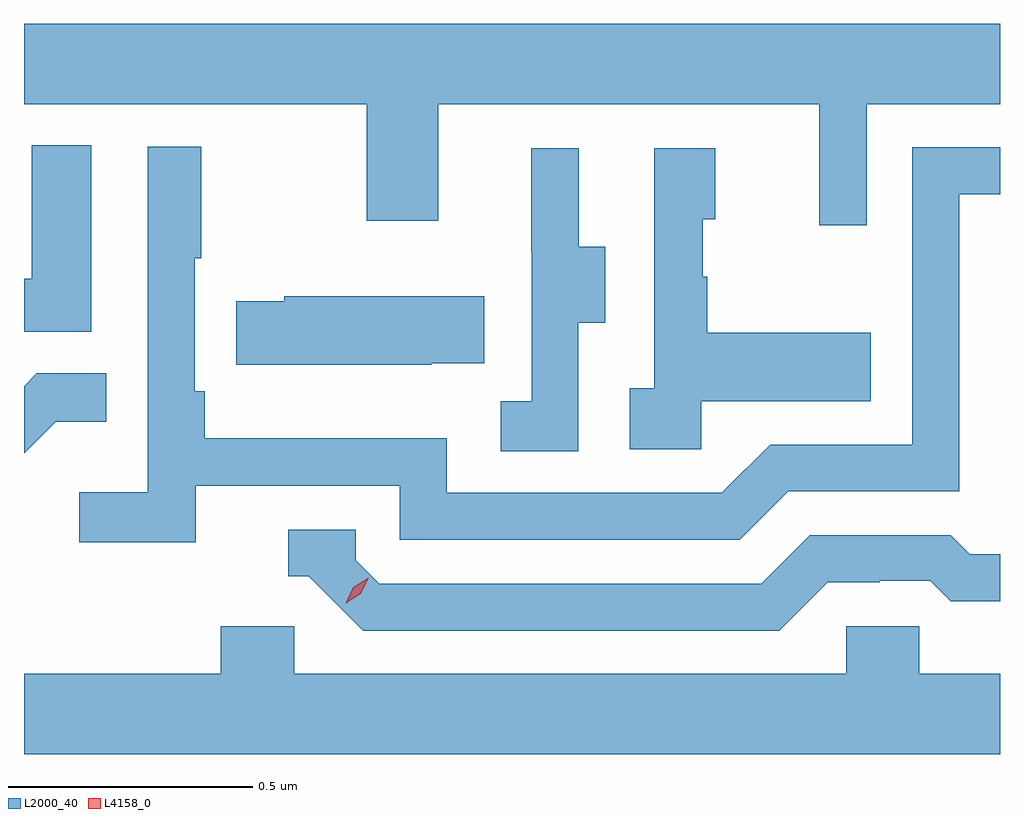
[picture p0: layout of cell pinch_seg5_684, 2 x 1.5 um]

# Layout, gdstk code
import gdstk
lib = gdstk.Library(unit=1e-6, precision=1e-09)
def P(c, l, *ps):  # polygons
    for p in ps: c.add(gdstk.Polygon(p, *l))
L2000_40 = (2000, 40)
L4158_0 = (4158, 0)

pinch_seg5_684 = lib.new_cell('pinch_seg5_684')
P(pinch_seg5_684, L2000_40, [(1037.757,840.776),(1038.03,840.776),(1038.03,840.94),(1036.03,840.94),(1036.03,840.776),(1036.732,840.776),(1036.732,840.537),(1036.879,840.537),(1036.879,840.776),(1037.66,840.776),(1037.66,840.528),(1037.757,840.528)],
  [(1036.168,840.691),(1036.046,840.691),(1036.046,840.418),(1036.03,840.418),(1036.03,840.309),(1036.168,840.309)],
  [(1036.382,839.994),(1036.8,839.994),(1036.8,839.883),(1037.497,839.883),(1037.596,839.982),(1037.946,839.982),(1037.946,840.591),(1038.03,840.591),(1038.03,840.687),(1037.85,840.687),(1037.85,840.078),(1037.559,840.078),(1037.46,839.979),(1036.896,839.979),(1036.896,840.091),(1036.4,840.091),(1036.4,840.187),(1036.38,840.187),(1036.38,840.46),(1036.393,840.46),(1036.393,840.688),(1036.284,840.688),(1036.284,839.98),(1036.143,839.98),(1036.143,839.878),(1036.382,839.878)],
  [(1037.418,840.167),(1037.765,840.167),(1037.765,840.307),(1037.43,840.307),(1037.43,840.422),(1037.421,840.422),(1037.421,840.54),(1037.446,840.54),(1037.446,840.685),(1037.322,840.685),(1037.322,840.194),(1037.271,840.194),(1037.271,840.069),(1037.418,840.069)],
  [(1037.166,840.328),(1037.221,840.328),(1037.221,840.483),(1037.167,840.483),(1037.167,840.685),(1037.069,840.685),(1037.069,840.471),(1037.07,840.471),(1037.07,840.167),(1037.007,840.167),(1037.007,840.064),(1037.166,840.064)],
  [(1036.865,840.245),(1036.973,840.245),(1036.973,840.382),(1036.563,840.382),(1036.563,840.372),(1036.465,840.372),(1036.465,840.242),(1036.865,840.242)],
  [(1036.095,840.125),(1036.199,840.125),(1036.199,840.224),(1036.056,840.224),(1036.03,840.198),(1036.03,840.06)],
  [(1037.677,839.796),(1037.784,839.796),(1037.784,839.799),(1037.887,839.799),(1037.929,839.757),(1038.03,839.757),(1038.03,839.853),(1037.968,839.853),(1037.929,839.892),(1037.64,839.892),(1037.541,839.793),(1036.758,839.793),(1036.71,839.841),(1036.71,839.904),(1036.571,839.904),(1036.571,839.808),(1036.614,839.808),(1036.725,839.697),(1037.578,839.697)],
  [(1038.03,839.608),(1037.865,839.608),(1037.865,839.706),(1037.715,839.706),(1037.715,839.608),(1036.584,839.608),(1036.584,839.706),(1036.433,839.706),(1036.433,839.608),(1036.03,839.608),(1036.03,839.444),(1038.03,839.444)])
P(pinch_seg5_684, L4158_0, [(1036.689,839.753),(1036.689,839.753),(1036.705,839.786),(1036.736,839.805),(1036.736,839.805),(1036.736,839.805),(1036.72,839.772),(1036.689,839.753)])

lib.write_gds('pinch_seg5_684.gds')
